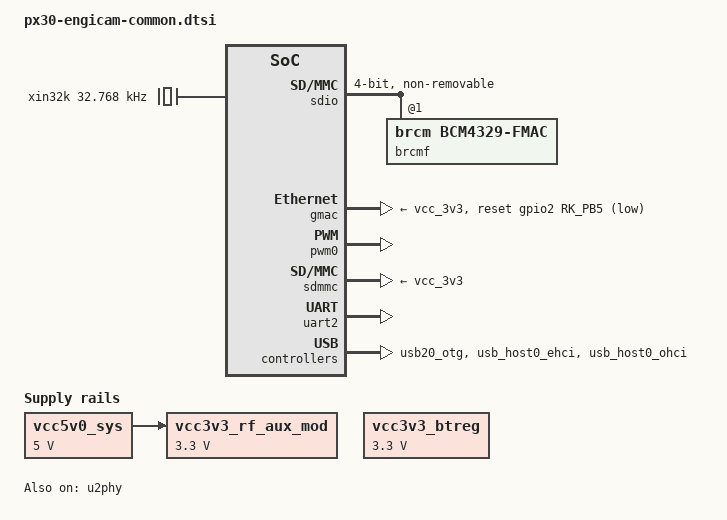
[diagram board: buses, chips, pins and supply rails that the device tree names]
// SPDX-License-Identifier: (GPL-2.0+ OR MIT)
/*
 * Copyright (c) 2020 Engicam srl
 * Copyright (c) 2020 Amarula Solutions
 * Copyright (c) 2020 Amarula Solutions(India)
 */

/ {
	aliases {
		mmc1 = &sdmmc;
		mmc2 = &sdio;
	};

	vcc5v0_sys: vcc5v0-sys {
		compatible = "regulator-fixed";
		regulator-name = "vcc5v0_sys";	/* +5V */
		regulator-always-on;
		regulator-boot-on;
		regulator-min-microvolt = <5000000>;
		regulator-max-microvolt = <5000000>;
	};

	sdio_pwrseq: sdio-pwrseq {
		compatible = "mmc-pwrseq-simple";
		clocks = <&xin32k>;
		clock-names = "ext_clock";
		post-power-on-delay-ms = <80>;
		pinctrl-names = "default";
		pinctrl-0 = <&wifi_enable_h>;
	};

	vcc3v3_btreg: vcc3v3-btreg {
		compatible = "regulator-gpio";
		enable-active-high;
		pinctrl-names = "default";
		pinctrl-0 = <&bt_enable_h>;
		regulator-name = "btreg-gpio-supply";
		regulator-min-microvolt = <3300000>;
		regulator-max-microvolt = <3300000>;
		regulator-always-on;
		states = <3300000 0x0>;
	};

	vcc3v3_rf_aux_mod: vcc3v3-rf-aux-mod {
		compatible = "regulator-fixed";
		regulator-name = "vcc3v3_rf_aux_mod";
		regulator-min-microvolt = <3300000>;
		regulator-max-microvolt = <3300000>;
		regulator-always-on;
		regulator-boot-on;
		vin-supply = <&vcc5v0_sys>;
	};

	xin32k: xin32k {
		compatible = "fixed-clock";
		#clock-cells = <0>;
		clock-frequency = <32768>;
		clock-output-names = "xin32k";
	};
};

&sdio {
	#address-cells = <1>;
	#size-cells = <0>;
	bus-width = <4>;
	clock-frequency = <50000000>;
	cap-sdio-irq;
	cap-sd-highspeed;
	keep-power-in-suspend;
	mmc-pwrseq = <&sdio_pwrseq>;
	non-removable;
	sd-uhs-sdr104;
	status = "okay";

	brcmf: wifi@1 {
		compatible = "brcm,bcm4329-fmac";
		reg = <1>;
	};
};

&gmac {
	clock_in_out = "output";
	phy-supply = <&vcc_3v3>;	/* +3V3_SOM */
	snps,reset-active-low;
	snps,reset-delays-us = <0 50000 50000>;
	snps,reset-gpio = <&gpio2 RK_PB5 GPIO_ACTIVE_HIGH>;
	status = "okay";
};

&pwm0 {
	status = "okay";
};

&sdmmc {
	cap-sd-highspeed;
	card-detect-delay = <800>;
	vmmc-supply = <&vcc_3v3>;	/* +3V3_SOM */
	vqmmc-supply = <&vcc_3v3>;
	status = "okay";
};

&u2phy {
	status = "okay";

	u2phy_host: host-port {
		status = "okay";
	};

	u2phy_otg: otg-port {
		status = "okay";
	};
};

&uart2 {
	pinctrl-0 = <&uart2m1_xfer>;
	status = "okay";
};

&usb20_otg {
	status = "okay";
};

&usb_host0_ehci {
	status = "okay";
};

&usb_host0_ohci {
	status = "okay";
};
